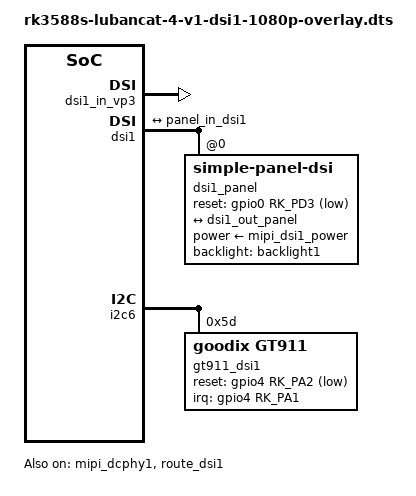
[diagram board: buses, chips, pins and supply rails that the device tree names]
/dts-v1/;
/plugin/;

#include <dt-bindings/gpio/gpio.h>
#include <dt-bindings/pinctrl/rockchip.h>
#include <dt-bindings/display/drm_mipi_dsi.h>
#include <dt-bindings/interrupt-controller/irq.h>

/ {
	fragment@0 {
		target = <&mipi_dcphy1>;

		__overlay__ {
			status = "okay";
		};
	};

	fragment@1 {
		target = <&route_dsi1>;

		__overlay__ {
			status = "okay";
			connect = <&vp3_out_dsi1>;
		};
	};

	fragment@2 {
		target = <&dsi1_in_vp3>;

		__overlay__ {
			status = "okay";
		};
	};


	fragment@3 {
		target = <&dsi1>;

		__overlay__ {
			status = "okay";
			#address-cells = <1>;
			#size-cells = <0>;

			dsi1_panel: panel@0 {
				status = "okay";
				compatible = "simple-panel-dsi";
				reg = <0>;
				backlight = <&backlight1>;
				power-supply = <&mipi_dsi1_power>;
				reset-gpios = <&gpio0 RK_PD3 GPIO_ACTIVE_LOW>;

				enable-delay-ms = <35>;
				prepare-delay-ms = <6>;
				reset-delay-ms = <0>;
				init-delay-ms = <20>;
				unprepare-delay-ms = <0>;
				disable-delay-ms = <20>;

				size,width = <74>;
				size,height = <133>;

				dsi,flags = <(MIPI_DSI_MODE_VIDEO | MIPI_DSI_MODE_VIDEO_BURST | MIPI_DSI_MODE_LPM | MIPI_DSI_MODE_EOT_PACKET)>;
				dsi,format = <MIPI_DSI_FMT_RGB888>;
				dsi,lanes  = <4>;

				panel-init-sequence = [
					39 00 04 B9 FF 83 99
					15 00 02 D2 77
					39 00 10 B1 02 04 74 94 01 32 33 11 11 AB 4D 56 73 02 02
					39 00 10 B2 00 80 80 AE 05 07 5A 11 00 00 10 1E 70 03 D4	
					15 00 02 36 02
					39 00 2D B4 00 FF 02 C0 02 C0 00 00 08 00 04 06 00 32 04 0A 08 21 03 01 00 0F B8 8B 02 C0 02 C0 00 00 08 00 04 06 00 32 04 0A 08 01 00 0F B8 01		
					39 05 22 D3 00 00 00 00 00 00 06 00 00 10 04 00 04 00 00 00 00 00 00 00 00 00 00 01 00 05 05 07 00 00 00 05 40						
					39 05 21 D5 18 18 19 19 18 18 21 20 01 00 07 06 05 04 03 02 18 18 18 18 18 18 2F 2F 30 30 31 31 18 18 18 18		
					39 05 21 D6 18 18 19 19 40 40 20 21 06 07 00 01 02 03 04 05 40 40 40 40 40 40 2F 2F 30 30 31 31 40 40 40 40			
					39 00 11 D8 A2 AA 02 A0 A2 A8 02 A0 B0 00 00 00 B0 00 00 00			
					15 00 02 BD 01			
					39 00 11 D8 B0 00 00 00 B0 00 00 00 E2 AA 03 F0 E2 AA 03 F0			
					15 00 02 BD 02			
					39 00 09 D8 E2 AA 03 F0 E2 AA 03 F0			
					15 00 02 BD 00			
					39 00 03 B6 8D 8D
					39 05 37 E0 00 0E 19 13 2E 39 48 44 4D 57 5F 66 6C 76 7F 85 8A 95 9A A4 9B AB B0 5C 58 64 77 00 0E 19 13 2E 39 48 44 4D 57 5F 66 6C 76 7F 85 8A 95 9A A4 9B AB B0 5C 58 64 77
					05 C8 01 11 
					05 C8 01 29 
				];

				panel-exit-sequence = [
					05 78 01 28
					05 00 01 10
				];

				disp1_timings0: display-timings {
					native-mode = <&dsi1_timing0>;
					dsi1_timing0: timing0 {
						clock-frequency = <131376000>;
						hactive = <1080>;
						vactive = <1920>;
						hsync-len = <10>;
						hback-porch = <20>;
						hfront-porch = <10>;
						vsync-len = <5>;
						vback-porch = <20>;
						vfront-porch = <10>;
						hsync-active = <0>;
						vsync-active = <0>;
						de-active = <0>;
						pixelclk-active = <0>;
					};
				};

				ports {
					#address-cells = <1>;
					#size-cells = <0>;
					port@0 {
						reg = <0>;
						panel_in_dsi1: endpoint {
							remote-endpoint = <&dsi1_out_panel>;
						};
					};
				};
			};

			ports {
				#address-cells = <1>;
				#size-cells = <0>;

				port@1 {
					reg = <1>;
					dsi1_out_panel: endpoint {
						remote-endpoint = <&panel_in_dsi1>;
					};
				};
			};
		};
	};

	fragment@4 {
		target = <&i2c6>;

		__overlay__ {
			status = "okay";
			#address-cells = <1>;
			#size-cells = <0>;
			pinctrl-names = "default";
			pinctrl-0 = <&i2c6m3_xfer>;

			gt911_dsi1: gt911@5d {
				status = "okay";
				compatible = "goodix,gt911";
				reg = <0x5d>;
				interrupt-parent = <&gpio4>;
				interrupts = <RK_PA1 IRQ_TYPE_LEVEL_LOW>;
				reset-gpios = <&gpio4 RK_PA2 GPIO_ACTIVE_LOW>;
				irq-gpios = <&gpio4 RK_PA1 GPIO_ACTIVE_HIGH>;
				touchscreen-inverted-x = <1>;
				touchscreen-inverted-y = <1>;
			};
		};
	};
};

